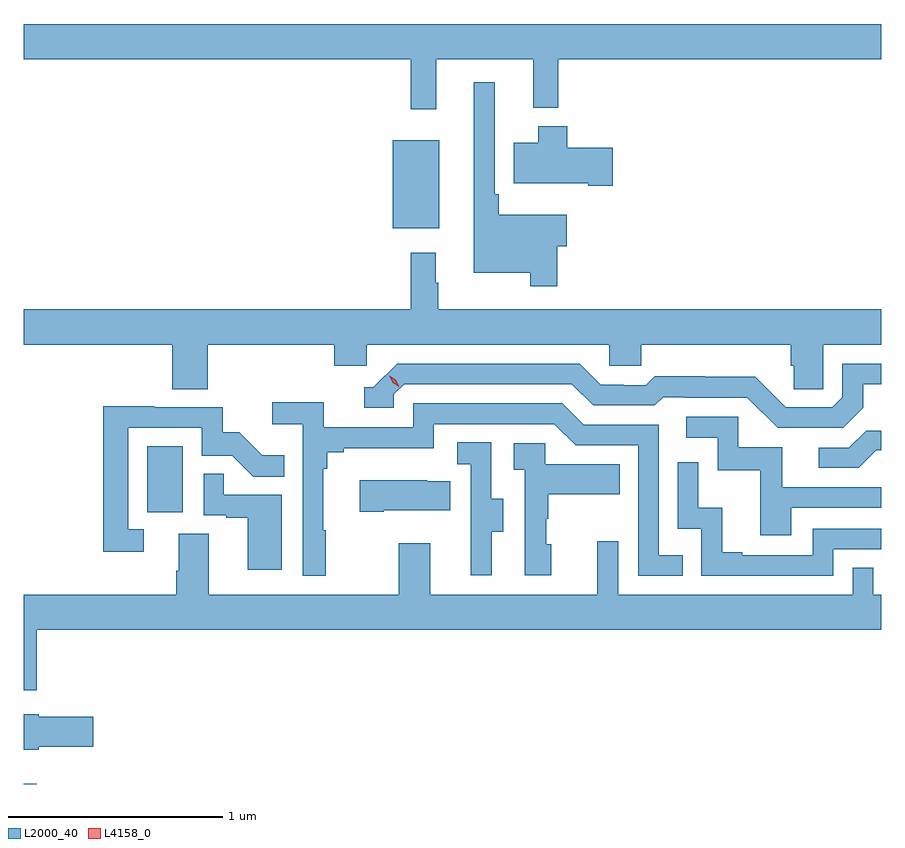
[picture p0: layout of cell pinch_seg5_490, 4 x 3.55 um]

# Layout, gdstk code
import gdstk
lib = gdstk.Library(unit=1e-6, precision=1e-09)
def R(c, l, rs):  # rectangles x0, y0, x1, y1
    for r in rs: c.add(gdstk.rectangle(r[:2], r[2:], *l))
def P(c, l, *ps):  # polygons
    for p in ps: c.add(gdstk.Polygon(p, *l))
L2000_40 = (2000, 40)
L4158_0 = (4158, 0)

pinch_seg5_490 = lib.new_cell('pinch_seg5_490')
R(pinch_seg5_490, L2000_40, [(922.652,840.057,922.711,840.058), (923.228,841.326,923.392,841.633), (924.374,842.651,924.589,843.061)])
P(pinch_seg5_490, L2000_40, [(924.575,843.44),(925.028,843.44),(925.028,843.212),(925.145,843.212),(925.145,843.44),(926.652,843.44),(926.652,843.604),(922.652,843.604),(922.652,843.44),(924.457,843.44),(924.457,843.207),(924.575,843.207)],
  [(925.142,842.566),(925.186,842.566),(925.186,842.713),(924.869,842.713),(924.869,842.809),(924.849,842.809),(924.849,843.331),(924.752,843.331),(924.752,842.444),(925.014,842.444),(925.014,842.379),(925.142,842.379)],
  [(925.399,843.027),(925.187,843.027),(925.187,843.127),(925.052,843.127),(925.052,843.049),(924.938,843.049),(924.938,842.861),(925.286,842.861),(925.286,842.849),(925.399,842.849)],
  [(923.51,842.108),(924.101,842.108),(924.101,842.01),(924.252,842.01),(924.252,842.108),(925.383,842.108),(925.383,842.01),(925.533,842.01),(925.533,842.108),(926.231,842.108),(926.231,842.01),(926.245,842.01),(926.245,841.9),(926.382,841.9),(926.382,842.108),(926.652,842.108),(926.652,842.272),(924.586,842.272),(924.586,842.396),(924.574,842.396),(924.574,842.536),(924.457,842.536),(924.457,842.272),(922.652,842.272),(922.652,842.108),(923.345,842.108),(923.345,841.9),(923.51,841.9)],
  [(926.569,841.813),(926.569,841.923),(926.652,841.923),(926.652,842.019),(926.472,842.019),(926.472,841.863),(926.424,841.815),(926.208,841.815),(926.066,841.957),(925.83,841.957),(925.83,841.96),(925.597,841.96),(925.555,841.917),(925.452,841.917),(925.452,841.92),(925.345,841.92),(925.246,842.019),(924.393,842.019),(924.282,841.908),(924.239,841.908),(924.239,841.812),(924.378,841.812),(924.378,841.875),(924.426,841.923),(925.209,841.923),(925.308,841.824),(925.597,841.824),(925.636,841.863),(925.735,841.863),(925.735,841.86),(926.028,841.86),(926.169,841.719),(926.475,841.719)],
  [(924.061,841.241),(924.049,841.241),(924.049,841.529),(924.068,841.529),(924.068,841.606),(924.145,841.606),(924.145,841.625),(924.564,841.625),(924.564,841.737),(925.128,841.737),(925.227,841.638),(925.518,841.638),(925.518,841.029),(925.727,841.029),(925.727,841.125),(925.614,841.125),(925.614,841.734),(925.264,841.734),(925.165,841.833),(924.468,841.833),(924.468,841.722),(924.05,841.722),(924.05,841.838),(923.811,841.838),(923.811,841.736),(923.952,841.736),(923.952,841.029),(924.061,841.029)],
  [(923.212,841.245),(923.139,841.245),(923.139,841.719),(923.481,841.719),(923.481,841.59),(923.625,841.59),(923.723,841.492),(923.867,841.492),(923.867,841.591),(923.763,841.591),(923.656,841.698),(923.58,841.698),(923.58,841.815),(923.261,841.815),(923.261,841.82),(923.023,841.82),(923.023,841.14),(923.212,841.14)],
  [(926.233,841.347),(926.652,841.347),(926.652,841.443),(926.191,841.443),(926.191,841.629),(925.986,841.629),(925.986,841.77),(925.743,841.77),(925.743,841.674),(925.89,841.674),(925.89,841.521),(926.089,841.521),(926.089,841.218),(926.233,841.218)],
  [(926.629,841.614),(926.652,841.614),(926.652,841.706),(926.582,841.706),(926.502,841.626),(926.361,841.626),(926.361,841.533),(926.548,841.533)],
  [(924.835,841.234),(924.889,841.234),(924.889,841.389),(924.834,841.389),(924.834,841.652),(924.675,841.652),(924.675,841.549),(924.738,841.549),(924.738,841.245),(924.737,841.245),(924.737,841.032),(924.835,841.032)],
  [(925.114,841.176),(925.089,841.176),(925.089,841.295),(925.099,841.295),(925.099,841.409),(925.433,841.409),(925.433,841.549),(925.086,841.549),(925.086,841.647),(924.939,841.647),(924.939,841.523),(924.99,841.523),(924.99,841.032),(925.114,841.032)],
  [(926.43,841.152),(926.652,841.152),(926.652,841.248),(926.334,841.248),(926.334,841.125),(926.005,841.125),(926.005,841.138),(925.91,841.138),(925.91,841.346),(925.8,841.346),(925.8,841.558),(925.704,841.558),(925.704,841.248),(925.812,841.248),(925.812,841.029),(926.43,841.029)],
  [(923.854,841.407),(923.585,841.407),(923.585,841.505),(923.49,841.505),(923.49,841.311),(923.597,841.311),(923.597,841.299),(923.696,841.299),(923.696,841.056),(923.854,841.056)],
  [(924.331,841.334),(924.641,841.334),(924.641,841.471),(924.533,841.471),(924.533,841.474),(924.219,841.474),(924.219,841.327),(924.331,841.327)],
  [(922.711,840.776),(926.652,840.776),(926.652,840.94),(926.616,840.94),(926.616,841.067),(926.52,841.067),(926.52,840.94),(925.425,840.94),(925.425,841.189),(925.328,841.189),(925.328,840.94),(924.547,840.94),(924.547,841.18),(924.4,841.18),(924.4,840.94),(923.515,840.94),(923.515,841.226),(923.375,841.226),(923.375,841.052),(923.363,841.052),(923.363,840.94),(922.652,840.94),(922.652,840.495),(922.711,840.495)],
  [(922.722,840.23),(922.975,840.23),(922.975,840.372),(922.722,840.372),(922.722,840.382),(922.652,840.382),(922.652,840.218),(922.722,840.218)])
P(pinch_seg5_490, L4158_0, [(924.403,841.91),(924.373,841.93),(924.357,841.963),(924.357,841.963),(924.358,841.963),(924.388,841.943),(924.404,841.91),(924.404,841.91)])

lib.write_gds('pinch_seg5_490.gds')
